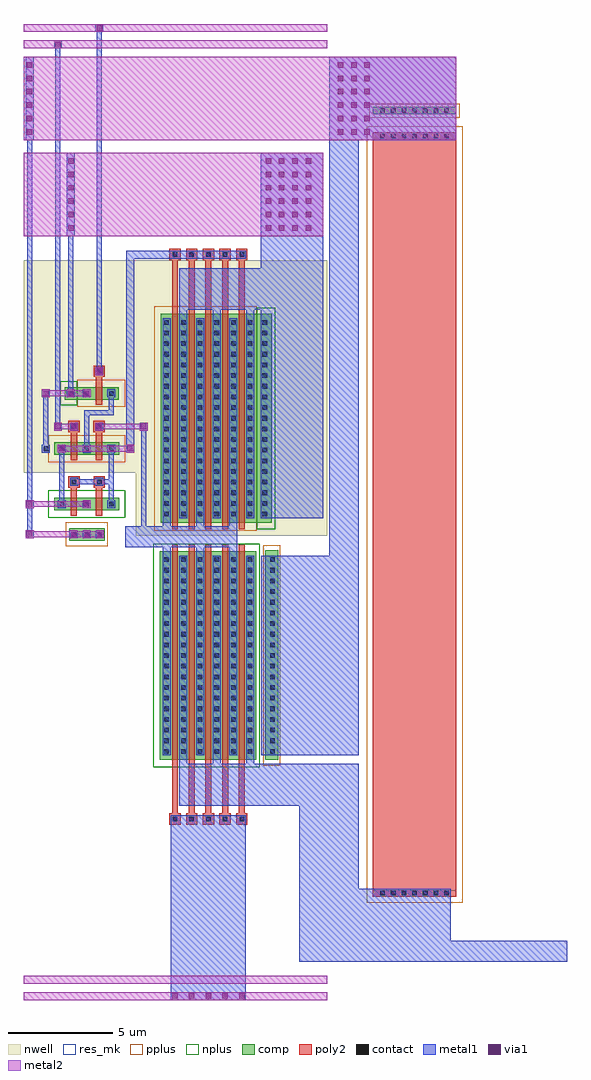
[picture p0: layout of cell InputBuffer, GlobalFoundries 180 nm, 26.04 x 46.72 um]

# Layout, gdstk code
from math import pi, radians
import gdstk
lib = gdstk.Library(unit=1e-6, precision=1e-09)
def R(c, l, rs):  # rectangles x0, y0, x1, y1
    for r in rs: c.add(gdstk.rectangle(r[:2], r[2:], *l))
def A(c, l, x, y, w, h, nx, ny, dx, dy):  # array of equal rectangles
    R(c, l, [(x+i*dx, y+j*dy, x+i*dx+w, y+j*dy+h) for i in range(nx) for j in range(ny)])
def P(c, l, *ps):  # polygons
    for p in ps: c.add(gdstk.Polygon(p, *l))
nwell = (21, 0)
comp = (22, 0)
poly2 = (30, 0)
pplus = (31, 0)
nplus = (32, 0)
contact = (33, 0)
metal1 = (34, 0)
via1 = (35, 0)
metal2 = (36, 0)
res_mk = (110, 5)

ppolyf_s_resistor = lib.new_cell('ppolyf_s_resistor')
R(ppolyf_s_resistor, comp, [(-1.51,0,-1.15,4)])
R(ppolyf_s_resistor, poly2, [(-0.29,0,36.29,4)])
R(ppolyf_s_resistor, pplus, [(-0.59,-0.3,36.59,4.3), (-1.67,-0.16,-0.99,4.16)])
A(ppolyf_s_resistor, contact, -1.44, 0.36, 0.22, 0.22, 1, 7, 0, 0.51)
A(ppolyf_s_resistor, contact, -0.22, 0.36, 0.22, 0.22, 1, 7, 0, 0.51)
A(ppolyf_s_resistor, contact, 36, 0.36, 0.22, 0.22, 1, 7, 0, 0.51)
R(ppolyf_s_resistor, metal1, [(-1.52,0.28,-1.14,3.72), (-0.3,0.28,0.08,3.72), (35.92,0.28,36.3,3.72)])
R(ppolyf_s_resistor, res_mk, [(0,0,36,4)])

inputbuffer = lib.new_cell('InputBuffer')
R(inputbuffer, nwell, [(-16.13,7.7,-6.96,10.7), (-21.5,10.7,-6.96,20.87)])
R(inputbuffer, comp, [(-14.99,-3.04,-10.36,6.96), (-9.94,-3.04,-9.31,7), (-19.32,7.46,-17.62,8.06), (-14.92,8.32,-9.62,18.32), (-20.02,8.91,-16.92,9.51), (-20.02,11.56,-16.92,12.16), (-19.53,14.21,-16.93,14.81)])
A(inputbuffer, poly2, -14.52, -6.14, 0.54, 0.54, 5, 2, 0.8, 27.02)
A(inputbuffer, poly2, -14.39, -5.6, 0.28, 12.87, 5, 2, 0.8, 13.61)
A(inputbuffer, poly2, -18.03, 8.66, 0.3, 1.34, 1, 3, 0, 2.65)
R(inputbuffer, poly2, [(-19.24,8.66,-18.94,10), (-19.35,10,-18.81,10.54), (-18.14,10,-17.6,10.54), (-19.23,11.31,-18.93,12.65), (-19.35,12.65,-18.81,13.19), (-18.15,12.65,-17.61,13.19), (-18.14,15.3,-17.6,15.84)])
R(inputbuffer, pplus, [(-10.02,-3.31,-9.22,7.23), (-19.47,7.19,-17.47,8.33), (-15.24,7.94,-10.34,18.69), (-20.32,11.21,-16.62,12.51), (-18.93,13.86,-16.63,15.16)])
R(inputbuffer, nplus, [(-15.29,-3.39,-10.18,7.31), (-10.34,8.005,-9.46,18.615), (-20.32,8.56,-16.62,9.86), (-19.73,13.94,-18.93,15.08)])
A(inputbuffer, contact, -14.36, -5.98, 0.22, 0.22, 5, 2, 0.8, 27.02)
A(inputbuffer, contact, -14.76, -2.74, 0.22, 0.22, 6, 19, 0.8, 0.51)
A(inputbuffer, contact, -9.7, -2.74, 0.22, 0.22, 1, 19, 0, 0.51)
A(inputbuffer, contact, -19.2, 7.65, 0.22, 0.22, 3, 1, 0.62, 0)
A(inputbuffer, contact, -14.76, 8.62, 0.22, 0.22, 6, 19, 0.8, 0.51)
A(inputbuffer, contact, -10.06, 8.62, 0.22, 0.22, 1, 19, 0, 0.51)
A(inputbuffer, contact, -18.59, 9.1, 0.22, 0.22, 1, 3, 0, 2.65)
A(inputbuffer, contact, -17.4, 9.1, 0.22, 0.22, 1, 3, 0, 2.65)
R(inputbuffer, contact, [(-19.77,9.1,-19.55,9.32), (-19.19,10.16,-18.97,10.38), (-17.98,10.16,-17.76,10.38), (-20.54,11.75,-20.32,11.97), (-19.77,11.75,-19.55,11.97), (-19.19,12.81,-18.97,13.03), (-17.99,12.81,-17.77,13.03), (-19.34,14.4,-19.12,14.62), (-17.98,15.46,-17.76,15.68)])
A(inputbuffer, metal1, -14.44, -6.06, 0.38, 0.38, 5, 2, 0.8, 27.02)
A(inputbuffer, metal1, -14.04, -3.22, 0.38, 0.4, 3, 2, 1.6, 21.32)
A(inputbuffer, metal1, -14.84, -2.82, 0.38, 9.56, 6, 2, 0.8, 11.36)
A(inputbuffer, metal1, -14.84, 6.74, 0.38, 0.4, 3, 2, 1.6, 1.4)
A(inputbuffer, metal1, -19.28, 7.57, 0.38, 0.38, 3, 1, 0.62, 0)
A(inputbuffer, metal1, -18.67, 9.02, 0.38, 0.38, 1, 3, 0, 2.65)
A(inputbuffer, metal1, -17.48, 9.02, 0.38, 0.38, 1, 3, 0, 2.65)
R(inputbuffer, metal1, [(-14.44,-14.53,-10.86,-5.68), (-8.29,-12.7,-5.46,-3.22), (-8.29,-12.7,-1.06,-9.21), (-1.06,-12.7,4.54,-11.7), (-14.44,-6.06,-10.86,-5.68), (-14.04,-5.22,-5.46,-3.22), (-10.12,-2.82,-5.46,6.74), (-9.78,-2.82,-9.4,6.74), (-6.86,-2.82,-5.46,30.63), (-16.63,7.14,-11.26,8.14), (-15.87,7.14,-15.63,13.04), (-14.84,7.14,-11.26,8.14), (-21.4,7.58,-21.02,7.96), (-21.33,7.65,-21.09,9.45), (-10.14,8.54,-9.76,18.1), (-10.14,8.54,-7.14,26.03), (-21.4,9.02,-21.02,9.4), (-19.85,9.02,-19.47,9.4), (-21.33,9.07,-21.09,30.63), (-19.78,9.09,-19.54,11.98), (-17.41,9.09,-17.17,11.98), (-19.78,9.4,-19.54,11.67), (-19.27,10.08,-18.89,10.46), (-18.06,10.08,-17.68,10.46), (-19.2,10.15,-17.17,10.39), (-20.62,11.67,-20.24,12.05), (-19.85,11.67,-19.47,12.05), (-16.59,11.67,-16.21,21.34), (-18.6,11.74,-18.36,13.71), (-20.55,12.05,-20.31,14.32), (-20.04,12.73,-19.66,13.11), (-19.97,12.73,-19.73,31.41), (-19.27,12.73,-18.89,13.11), (-18.07,12.73,-17.69,13.11), (-15.94,12.73,-15.56,13.11), (-18.6,13.47,-17.17,13.71), (-17.41,13.47,-17.17,14.63), (-20.62,14.32,-20.24,14.7), (-19.42,14.32,-19.04,14.7), (-19.35,14.32,-19.11,26.03), (-18.06,15.38,-17.68,15.76), (-17.99,15.38,-17.75,32.19), (-14.04,18.5,-8.14,20.5), (-21.33,18.92,-21.09,30.63), (-16.59,20.96,-10.86,21.34), (-14.44,20.96,-10.86,21.34), (-19.42,22.03,-19.04,26.03), (-21.4,26.63,-21.02,30.63), (-6.86,26.63,-0.78,30.63), (-20.04,31.03,-19.66,31.41), (-18.06,31.81,-17.68,32.19)])
P(inputbuffer, metal1, [(-18.6,11.73),(-18.6,11.73),(-18.6,11.73),(-18.6,11.73)])
A(inputbuffer, via1, -14.38, -14.47, 0.26, 0.26, 5, 1, 0.8, 0)
A(inputbuffer, via1, -19.22, 7.63, 0.26, 0.26, 3, 1, 0.62, 0)
A(inputbuffer, via1, -19.36, 22.3, 0.26, 0.26, 1, 6, 0, 0.64)
A(inputbuffer, via1, -9.91, 22.3, 0.26, 0.26, 3, 6, 0.64, 0.64)
A(inputbuffer, via1, -7.98, 22.3, 0.26, 0.26, 1, 6, 0, 0.64)
A(inputbuffer, via1, -21.34, 26.9, 0.26, 0.26, 1, 6, 0, 0.64)
A(inputbuffer, via1, -6.46, 26.9, 0.26, 0.26, 3, 6, 0.64, 0.64)
R(inputbuffer, via1, [(-21.34,7.64,-21.08,7.9), (-21.34,9.08,-21.08,9.34), (-18.61,9.08,-18.35,9.34), (-19.79,11.73,-19.53,11.99), (-16.53,11.73,-16.27,11.99), (-19.98,12.79,-19.72,13.05), (-19.21,12.79,-18.95,13.05), (-18.01,12.79,-17.75,13.05), (-15.88,12.79,-15.62,13.05), (-20.56,14.38,-20.3,14.64), (-19.36,14.38,-19.1,14.64), (-18.61,14.38,-18.35,14.64), (-18,15.44,-17.74,15.7), (-19.98,31.09,-19.72,31.35), (-18,31.87,-17.74,32.13)])
A(inputbuffer, metal2, -19.28, 7.57, 0.38, 0.38, 3, 1, 0.62, 0)
R(inputbuffer, metal2, [(-21.5,-14.53,-6.96,-14.15), (-21.5,-13.75,-6.96,-13.37), (-21.4,7.58,-21.02,7.96), (-21.35,7.62,-17.71,7.9), (-21.4,9.02,-21.02,9.4), (-18.67,9.02,-18.29,9.4), (-21.35,9.07,-18.34,9.35), (-19.85,11.67,-19.47,12.05), (-16.59,11.67,-16.21,12.05), (-19.8,11.72,-16.26,12), (-20.04,12.73,-19.66,13.11), (-19.27,12.73,-18.89,13.11), (-18.07,12.73,-17.69,13.11), (-15.94,12.73,-15.56,13.11), (-20.04,12.78,-18.92,13.06), (-17.99,12.78,-15.63,13.06), (-20.62,14.32,-20.24,14.7), (-19.42,14.32,-19.04,14.7), (-18.67,14.32,-18.29,14.7), (-20.57,14.37,-18.34,14.65), (-18.06,15.38,-17.68,15.76), (-21.5,22.03,-7.14,26.03), (-21.5,26.63,-0.78,30.63), (-21.5,31.03,-6.96,31.41), (-21.5,31.81,-6.96,32.19)])
r = gdstk.Reference(ppolyf_s_resistor, (-0.78,26.71), rotation=3*pi/2, x_reflection=True); r.repetition = gdstk.Repetition(1, 1, v1=(0,0), v2=(0,0)); inputbuffer.add(r)

lib.write_gds('InputBuffer.gds')
